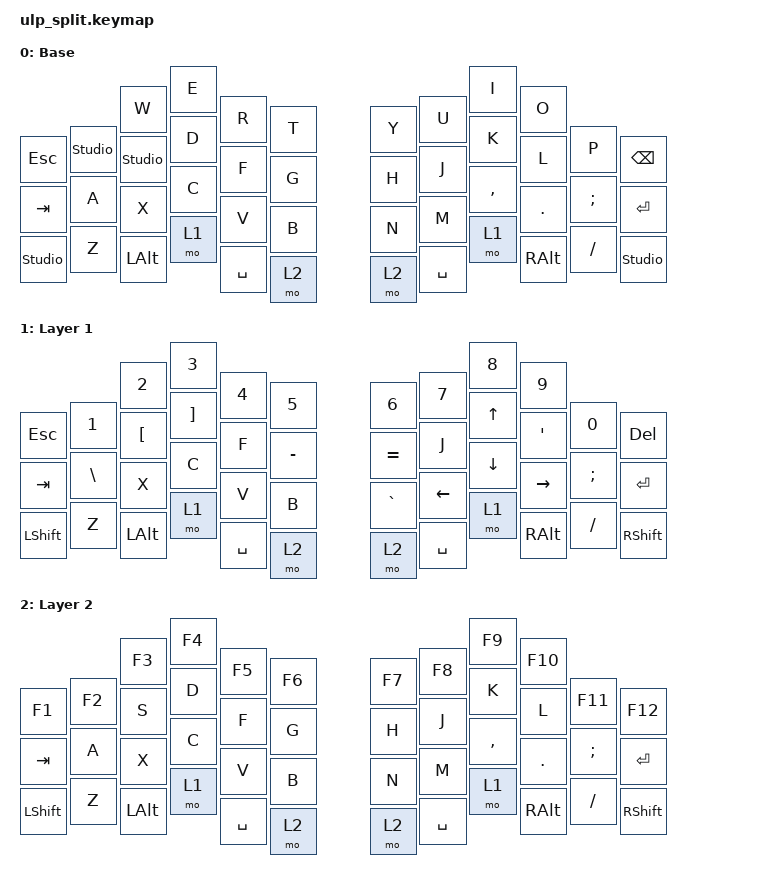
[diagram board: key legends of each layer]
// This file was generated from a template. Edit it to match your keyboard.
// See https://zmk.dev/docs/development/hardware-integration/new-shield for more instructions.

#include <behaviors.dtsi>
#include <dt-bindings/zmk/keys.h>

/ {
    // Define a default keymap here.
    // See https://zmk.dev/docs/development/hardware-integration/new-shield#default-keymap.
    keymap {
        compatible = "zmk,keymap";

        default_layer {
            display-name = "Base";
            bindings = <
                                   &kp W     &kp E      &kp R      &kp T        &kp Y     &kp U      &kp I      &kp O
                &kp ESCAPE  &studio_unlock  &studio_unlock     &kp D      &kp F      &kp G        &kp H     &kp J      &kp K      &kp L     &kp P      &kp BACKSPACE
                &kp TAB     &kp A  &kp X     &kp C      &kp V      &kp B        &kp N     &kp M      &kp COMMA  &kp DOT   &kp SEMI   &kp ENTER
                &studio_unlock  &kp Z  &kp LALT  &mo 1      &kp SPACE  &mo 2        &mo 2     &kp SPACE  &mo 1      &kp RALT  &kp SLASH  &studio_unlock
            >;
        };
        Layer1 {
            display-name = "Layer 1";
            bindings = <
                                           &kp N2            &kp N3             &kp N4     &kp N5           &kp N6     &kp N7     &kp N8    &kp N9
                &kp ESCAPE  &kp N1         &kp LEFT_BRACKET  &kp RIGHT_BRACKET  &kp F      &kp MINUS        &kp EQUAL  &kp J      &kp UP    &kp APOSTROPHE  &kp N0     &kp DELETE
                &kp TAB     &kp BACKSLASH  &kp X             &kp C              &kp V      &kp B            &kp GRAVE  &kp LEFT   &kp DOWN  &kp RIGHT       &kp SEMI   &kp ENTER
                &kp LSHIFT  &kp Z          &kp LALT          &mo 1              &kp SPACE  &mo 2            &mo 2      &kp SPACE  &mo 1     &kp RALT        &kp SLASH  &kp RSHIFT
            >;
        };
        Layer2 {
            display-name = "Layer 2";
            bindings = <
                                    &kp F3    &kp F4     &kp F5     &kp F6       &kp F7    &kp F8     &kp F9     &kp F10
                &kp F1      &kp F2  &kp S     &kp D      &kp F      &kp G        &kp H     &kp J      &kp K      &kp L     &kp F11      &kp F12
                &kp TAB     &kp A   &kp X     &kp C      &kp V      &kp B        &kp N     &kp M      &kp COMMA  &kp DOT   &kp SEMI     &kp ENTER
                &kp LSHIFT  &kp Z   &kp LALT  &mo 1      &kp SPACE  &mo 2        &mo 2    &kp SPACE   &mo 1      &kp RALT  &kp SLASH    &kp RSHIFT
            >;
        };
        Extra1 {
            status = "reserved";
        };
        Extra2 {
            status = "reserved";
        };
    };
};
